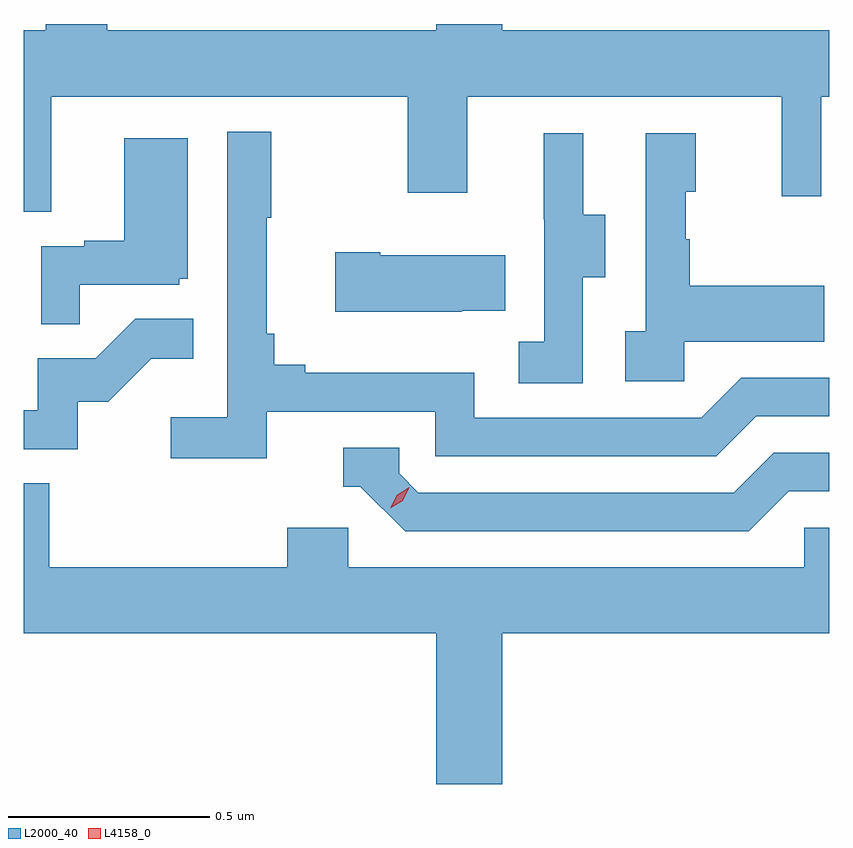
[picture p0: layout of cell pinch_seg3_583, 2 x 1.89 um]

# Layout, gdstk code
import gdstk
lib = gdstk.Library(unit=1e-6, precision=1e-09)
def P(c, l, *ps):  # polygons
    for p in ps: c.add(gdstk.Polygon(p, *l))
L2000_40 = (2000, 40)
L4158_0 = (4158, 0)

pinch_seg3_583 = lib.new_cell('pinch_seg3_583')
P(pinch_seg3_583, L2000_40, [(1039.177,702.248),(1040.062,702.248),(1040.062,702.009),(1040.209,702.009),(1040.209,702.248),(1040.99,702.248),(1040.99,702),(1041.087,702),(1041.087,702.248),(1041.108,702.248),(1041.108,702.412),(1040.296,702.412),(1040.296,702.428),(1040.132,702.428),(1040.132,702.412),(1039.316,702.412),(1039.316,702.428),(1039.163,702.428),(1039.163,702.412),(1039.108,702.412),(1039.108,701.962),(1039.177,701.962)],
  [(1039.712,701.466),(1040.13,701.466),(1040.13,701.355),(1040.827,701.355),(1040.926,701.454),(1041.108,701.454),(1041.108,701.55),(1040.889,701.55),(1040.79,701.451),(1040.226,701.451),(1040.226,701.563),(1039.807,701.563),(1039.807,701.582),(1039.73,701.582),(1039.73,701.659),(1039.711,701.659),(1039.711,701.947),(1039.723,701.947),(1039.723,702.16),(1039.614,702.16),(1039.614,701.452),(1039.473,701.452),(1039.473,701.35),(1039.712,701.35)],
  [(1040.496,701.8),(1040.551,701.8),(1040.551,701.955),(1040.497,701.955),(1040.497,702.157),(1040.399,702.157),(1040.399,701.943),(1040.4,701.943),(1040.4,701.639),(1040.337,701.639),(1040.337,701.536),(1040.496,701.536)],
  [(1040.748,701.639),(1041.095,701.639),(1041.095,701.779),(1040.761,701.779),(1040.761,701.894),(1040.751,701.894),(1040.751,702.012),(1040.776,702.012),(1040.776,702.157),(1040.652,702.157),(1040.652,701.666),(1040.601,701.666),(1040.601,701.541),(1040.748,701.541)],
  [(1039.247,701.781),(1039.494,701.781),(1039.494,701.796),(1039.516,701.796),(1039.516,702.145),(1039.358,702.145),(1039.358,701.89),(1039.259,701.89),(1039.259,701.877),(1039.152,701.877),(1039.152,701.683),(1039.247,701.683)],
  [(1040.195,701.717),(1040.303,701.717),(1040.303,701.854),(1039.993,701.854),(1039.993,701.862),(1039.881,701.862),(1039.881,701.714),(1040.195,701.714)],
  [(1039.242,701.49),(1039.318,701.49),(1039.425,701.597),(1039.529,701.597),(1039.529,701.696),(1039.385,701.696),(1039.287,701.598),(1039.143,701.598),(1039.143,701.469),(1039.108,701.469),(1039.108,701.373),(1039.242,701.373)],
  [(1041.007,701.268),(1041.108,701.268),(1041.108,701.364),(1040.97,701.364),(1040.871,701.265),(1040.088,701.265),(1040.04,701.313),(1040.04,701.376),(1039.901,701.376),(1039.901,701.28),(1039.944,701.28),(1040.055,701.169),(1040.908,701.169)],
  [(1040.296,700.916),(1041.108,700.916),(1041.108,701.178),(1041.045,701.178),(1041.045,701.08),(1039.914,701.08),(1039.914,701.178),(1039.763,701.178),(1039.763,701.08),(1039.172,701.08),(1039.172,701.288),(1039.108,701.288),(1039.108,700.916),(1040.132,700.916),(1040.132,700.542),(1040.296,700.542)])
P(pinch_seg3_583, L4158_0, [(1040.018,701.226),(1040.018,701.226),(1040.034,701.259),(1040.065,701.278),(1040.065,701.278),(1040.065,701.278),(1040.049,701.245),(1040.018,701.226)])

lib.write_gds('pinch_seg3_583.gds')
